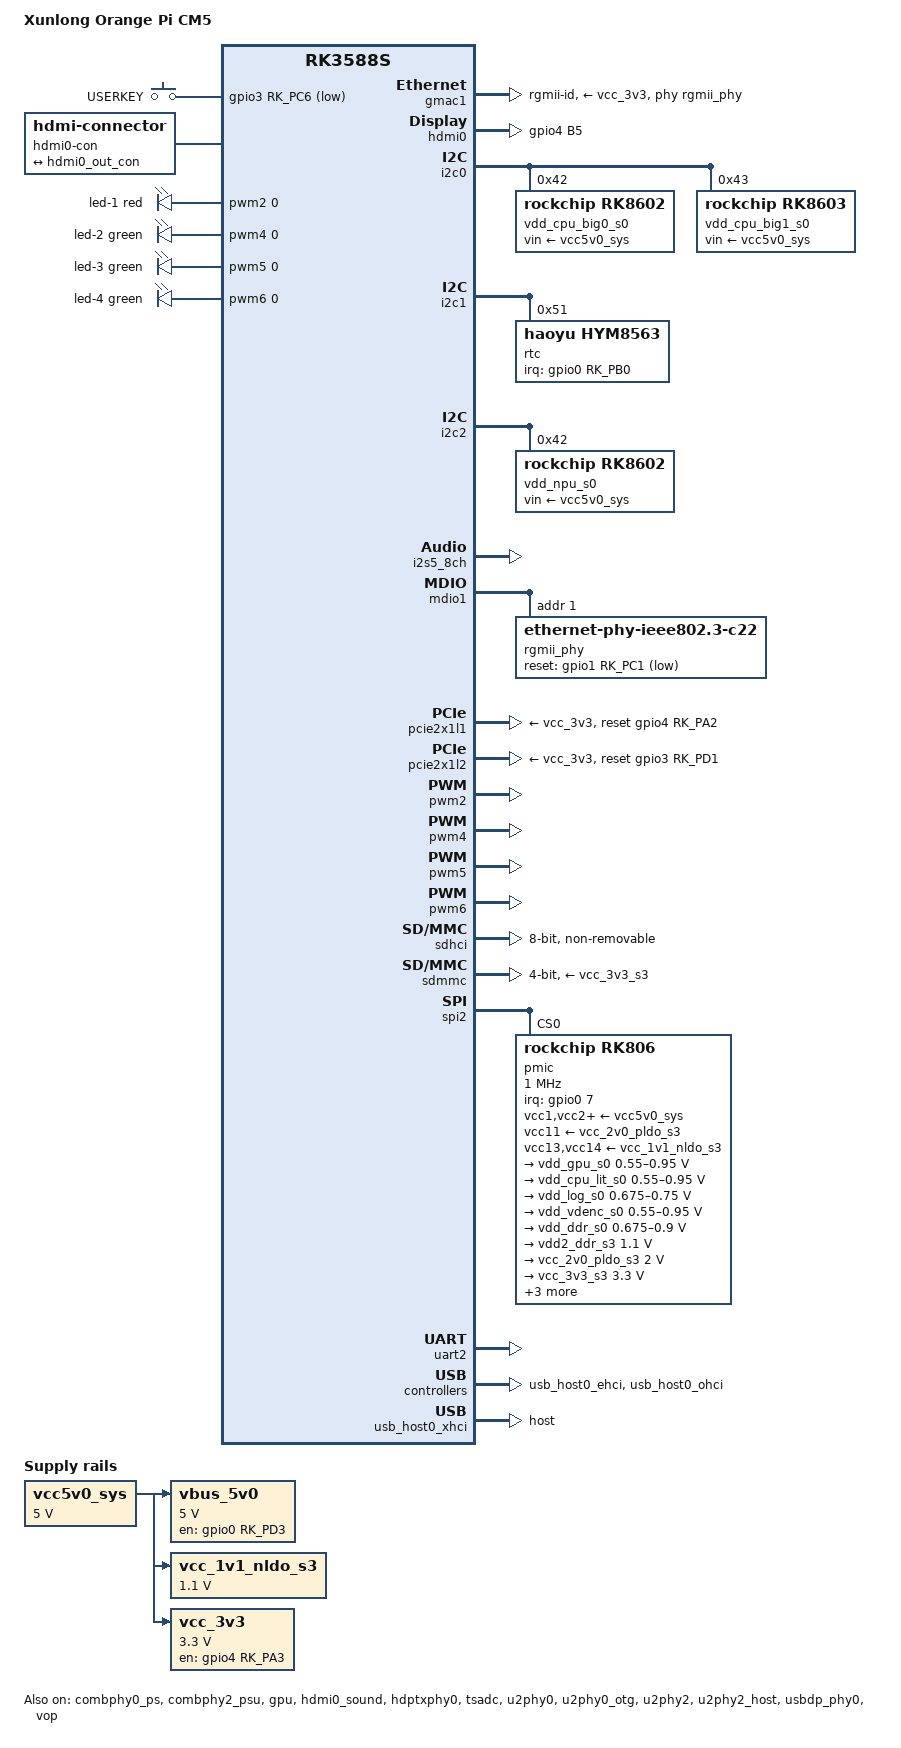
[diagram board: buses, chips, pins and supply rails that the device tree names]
// SPDX-License-Identifier: (GPL-2.0+ OR MIT)

/dts-v1/;

#include <dt-bindings/clock/rockchip,rk3588-cru.h>
#include <dt-bindings/gpio/gpio.h>
#include <dt-bindings/input/input.h>
#include <dt-bindings/interrupt-controller/irq.h>
#include <dt-bindings/leds/common.h>
#include <dt-bindings/pinctrl/rockchip.h>
#include <dt-bindings/pwm/pwm.h>
#include <dt-bindings/soc/rockchip,vop2.h>

#include "rk3588s.dtsi"
#include "rk8xx.h"

/ {
	model = "Xunlong Orange Pi CM5";
	compatible = "xunlong,orangepi-cm5-carrier", "xunlong,orangepi-cm5", "rockchip,rk3588s";

	aliases {
		ethernet0 = &gmac1;
		mmc0 = &sdhci;
		mmc1 = &sdmmc;
	};

	chosen {
		stdout-path = "serial2:1500000n8";
	};

	gpio-keys {
		compatible = "gpio-keys";
		pinctrl-names = "default";
		pinctrl-0 = <&key1_pin>;

		button {
			debounce-interval = <50>;
			gpios = <&gpio3 RK_PC6 GPIO_ACTIVE_LOW>;
			label = "USERKEY";
			linux,code = <BTN_MISC>;
			wakeup-source;
		};
	};

	hdmi0-con {
		compatible = "hdmi-connector";
		type = "a";

		port {
			hdmi0_con_in: endpoint {
				remote-endpoint = <&hdmi0_out_con>;
			};
		};
	};

	pwm-leds {
		compatible = "pwm-leds";

		led-1 {
			color = <LED_COLOR_ID_RED>;
			function = LED_FUNCTION_STATUS;
			linux,default-trigger = "heartbeat";
			max-brightness = <255>;
			pwms = <&pwm2 0 25000 0>;
		};

		led-2 {
			color = <LED_COLOR_ID_GREEN>;
			function = LED_FUNCTION_WAN;
			max-brightness = <255>;
			pwms = <&pwm4 0 25000 PWM_POLARITY_INVERTED>;
		};

		led-3 {
			color = <LED_COLOR_ID_GREEN>;
			function = LED_FUNCTION_LAN;
			function-enumerator = <0>;
			max-brightness = <255>;
			pwms = <&pwm5 0 25000 PWM_POLARITY_INVERTED>;
		};

		led-4 {
			color = <LED_COLOR_ID_GREEN>;
			function = LED_FUNCTION_LAN;
			function-enumerator = <1>;
			max-brightness = <255>;
			pwms = <&pwm6 0 25000 0>;
		};
	};

	vbus_5v0: regulator-vbus-5v0 {
		compatible = "regulator-fixed";
		enable-active-high;
		gpio = <&gpio0 RK_PD3 GPIO_ACTIVE_HIGH>;
		pinctrl-names = "default";
		pinctrl-0 = <&vbus_5v0_en_pin>;
		regulator-name = "vbus_5v0";
		regulator-min-microvolt = <5000000>;
		regulator-max-microvolt = <5000000>;
		vin-supply = <&vcc5v0_sys>;
	};

	/* Can't be verified due to missing schematics for the CM5. */
	vcc_1v1_nldo_s3: regulator-vcc-1v1-nldo-s3 {
		compatible = "regulator-fixed";
		regulator-name = "vcc_1v1_nldo_s3";
		regulator-always-on;
		regulator-boot-on;
		regulator-min-microvolt = <1100000>;
		regulator-max-microvolt = <1100000>;
		vin-supply = <&vcc5v0_sys>;
	};

	vcc_3v3: regulator-vcc-3v3 {
		compatible = "regulator-fixed";
		enable-active-high;
		gpio = <&gpio4 RK_PA3 GPIO_ACTIVE_HIGH>;
		pinctrl-names = "default";
		pinctrl-0 = <&vcc_3v3_en_pin>;
		regulator-name = "vcc_3v3";
		regulator-min-microvolt = <3300000>;
		regulator-max-microvolt = <3300000>;
		startup-delay-us = <50000>;
		vin-supply = <&vcc5v0_sys>;
	};

	vcc5v0_sys: regulator-vcc-5v0 {
		compatible = "regulator-fixed";
		regulator-name = "vcc5v0_sys";
		regulator-always-on;
		regulator-boot-on;
		regulator-min-microvolt = <5000000>;
		regulator-max-microvolt = <5000000>;
	};
};

&combphy0_ps {
	status = "okay";
};

&combphy2_psu {
	status = "okay";
};

&cpu_b0 {
	cpu-supply = <&vdd_cpu_big0_s0>;
};

&cpu_b1 {
	cpu-supply = <&vdd_cpu_big0_s0>;
};

&cpu_b2 {
	cpu-supply = <&vdd_cpu_big1_s0>;
};

&cpu_b3 {
	cpu-supply = <&vdd_cpu_big1_s0>;
};

&cpu_l0 {
	cpu-supply = <&vdd_cpu_lit_s0>;
};

&cpu_l1 {
	cpu-supply = <&vdd_cpu_lit_s0>;
};

&cpu_l2 {
	cpu-supply = <&vdd_cpu_lit_s0>;
};

&cpu_l3 {
	cpu-supply = <&vdd_cpu_lit_s0>;
};

&gmac1 {
	clock_in_out = "output";
	phy-handle = <&rgmii_phy>;
	phy-mode = "rgmii-id";
	phy-supply = <&vcc_3v3>;
	pinctrl-names = "default";
	pinctrl-0 = <&gmac1_miim
		     &gmac1_rx_bus2
		     &gmac1_tx_bus2
		     &gmac1_rgmii_clk
		     &gmac1_rgmii_bus>;
	status = "okay";
};

&gpu {
	mali-supply = <&vdd_gpu_s0>;
	status = "okay";
};

&hdmi0 {
	pinctrl-names = "default";
	pinctrl-0 = <&hdmim0_tx0_cec &hdmim0_tx0_hpd
		     &hdmim0_tx0_scl &hdmim0_tx0_sda
		     &hdmi_frl_pin>;
	status = "okay";
};

&hdmi0_in {
	hdmi0_in_vp0: endpoint {
		remote-endpoint = <&vp0_out_hdmi0>;
	};
};

&hdmi0_out {
	hdmi0_out_con: endpoint {
		remote-endpoint = <&hdmi0_con_in>;
	};
};

&hdmi0_sound {
	status = "okay";
};

&hdptxphy0 {
	status = "okay";
};

&i2c0 {
	pinctrl-0 = <&i2c0m2_xfer>;
	status = "okay";

	vdd_cpu_big0_s0: regulator@42 {
		compatible = "rockchip,rk8602";
		reg = <0x42>;
		fcs,suspend-voltage-selector = <1>;
		regulator-name = "vdd_cpu_big0_s0";
		regulator-always-on;
		regulator-boot-on;
		regulator-min-microvolt = <550000>;
		regulator-max-microvolt = <1050000>;
		regulator-ramp-delay = <2300>;
		vin-supply = <&vcc5v0_sys>;

		regulator-state-mem {
			regulator-off-in-suspend;
		};
	};

	vdd_cpu_big1_s0: regulator@43 {
		compatible = "rockchip,rk8603", "rockchip,rk8602";
		reg = <0x43>;
		fcs,suspend-voltage-selector = <1>;
		regulator-name = "vdd_cpu_big1_s0";
		regulator-always-on;
		regulator-boot-on;
		regulator-min-microvolt = <550000>;
		regulator-max-microvolt = <1050000>;
		regulator-ramp-delay = <2300>;
		vin-supply = <&vcc5v0_sys>;

		regulator-state-mem {
			regulator-off-in-suspend;
		};
	};
};

&i2c1 {
	pinctrl-0 = <&i2c1m2_xfer>;
	status = "okay";

	rtc@51 {
		compatible = "haoyu,hym8563";
		reg = <0x51>;
		#clock-cells = <0>;
		clock-output-names = "hym8563";
		interrupt-parent = <&gpio0>;
		interrupts = <RK_PB0 IRQ_TYPE_LEVEL_LOW>;
		pinctrl-names = "default";
		pinctrl-0 = <&rtc_int_pin>;
		wakeup-source;
	};
};

&i2c2 {
	status = "okay";

	vdd_npu_s0: regulator@42 {
		compatible = "rockchip,rk8602";
		reg = <0x42>;
		fcs,suspend-voltage-selector = <1>;
		regulator-name = "vdd_npu_s0";
		regulator-always-on;
		regulator-boot-on;
		regulator-min-microvolt = <550000>;
		regulator-max-microvolt = <950000>;
		regulator-ramp-delay = <2300>;
		vin-supply = <&vcc5v0_sys>;

		regulator-state-mem {
			regulator-off-in-suspend;
		};
	};
};

&i2s5_8ch {
	status = "okay";
};

&mdio1 {
	rgmii_phy: ethernet-phy@1 {
		/* YT8531C */
		compatible = "ethernet-phy-ieee802.3-c22";
		reg = <0x1>;
		pinctrl-names = "default";
		pinctrl-0 = <&rgmii_phy_pin>;
		reset-assert-us = <20000>;
		reset-deassert-us = <100000>;
		reset-gpios = <&gpio1 RK_PC1 GPIO_ACTIVE_LOW>;
	};
};

&pcie2x1l1 {
	reset-gpios = <&gpio4 RK_PA2 GPIO_ACTIVE_HIGH>;
	vpcie3v3-supply = <&vcc_3v3>;
	status = "okay";
};

&pcie2x1l2 {
	reset-gpios = <&gpio3 RK_PD1 GPIO_ACTIVE_HIGH>;
	vpcie3v3-supply = <&vcc_3v3>;
	status = "okay";
};

&pd_gpu {
	domain-supply = <&vdd_gpu_s0>;
};

&pinctrl {
	camera {
		cam1_reset_pin: cam1-reset-pin {
			rockchip,pins = <1 RK_PD0 RK_FUNC_GPIO &pcfg_pull_none>;
		};
		cam2_reset_pin: cam2-reset-pin {
			rockchip,pins = <1 RK_PD1 RK_FUNC_GPIO &pcfg_pull_none>;
		};
		cam3_reset_pin: cam3-reset-pin {
			rockchip,pins = <1 RK_PD2 RK_FUNC_GPIO &pcfg_pull_none>;
		};
		cam4_reset_pin: cam4-reset-pin {
			rockchip,pins = <1 RK_PD3 RK_FUNC_GPIO &pcfg_pull_none>;
		};
	};

	ethernet {
		rgmii_phy_pin: rgmii-phy-pin {
			rockchip,pins = <1 RK_PC1 RK_FUNC_GPIO &pcfg_pull_none>;
		};
	};

	gpio-key {
		key1_pin: key1-pin {
			rockchip,pins = <3 RK_PC6 RK_FUNC_GPIO &pcfg_pull_up>;
		};
	};

	hdmi {
		hdmi_frl_pin: hdmi-frl-pin {
			rockchip,pins = <4 RK_PB5 RK_FUNC_GPIO &pcfg_pull_up>;
		};
	};

	power {
		vcc_3v3_en_pin: vcc-3v3-en-pin {
			rockchip,pins = <4 RK_PA3 RK_FUNC_GPIO &pcfg_pull_down>;
		};
	};

	rtc {
		rtc_int_pin: rtc-int-pin {
			rockchip,pins = <0 RK_PB0 RK_FUNC_GPIO &pcfg_pull_none>;
		};
	};

	usb {
		vbus_5v0_en_pin: vbus-5v0-en-pin {
			rockchip,pins = <0 RK_PD3 RK_FUNC_GPIO &pcfg_pull_none>;
		};
	};
};

&pwm2 {
	status = "okay";
};

&pwm4 {
	status = "okay";
};

&pwm5 {
	pinctrl-0 = <&pwm5m1_pins>;
	status = "okay";
};

&pwm6 {
	status = "okay";
};

&sdhci {
	bus-width = <8>;
	no-sdio;
	no-sd;
	non-removable;
	max-frequency = <200000000>;
	mmc-hs400-1_8v;
	mmc-hs400-enhanced-strobe;
	status = "okay";
};

&sdmmc {
	bus-width = <4>;
	cap-sd-highspeed;
	disable-wp;
	max-frequency = <150000000>;
	no-mmc;
	no-sdio;
	sd-uhs-sdr104;
	vmmc-supply = <&vcc_3v3_s3>;
	vqmmc-supply = <&vccio_sd_s0>;
	status = "okay";
};

&spi2 {
	assigned-clocks = <&cru CLK_SPI2>;
	assigned-clock-rates = <200000000>;
	num-cs = <1>;
	pinctrl-0 = <&spi2m2_cs0 &spi2m2_pins>;
	status = "okay";

	pmic@0 {
		compatible = "rockchip,rk806";
		reg = <0x0>;
		interrupt-parent = <&gpio0>;
		interrupts = <7 IRQ_TYPE_LEVEL_LOW>;
		gpio-controller;
		#gpio-cells = <2>;
		pinctrl-names = "default";
		pinctrl-0 = <&pmic_pins>, <&rk806_dvs1_null>,
			    <&rk806_dvs2_null>, <&rk806_dvs3_null>;
		spi-max-frequency = <1000000>;
		system-power-controller;
		rockchip,reset-mode = <RK806_RESET>;

		vcc1-supply = <&vcc5v0_sys>;
		vcc2-supply = <&vcc5v0_sys>;
		vcc3-supply = <&vcc5v0_sys>;
		vcc4-supply = <&vcc5v0_sys>;
		vcc5-supply = <&vcc5v0_sys>;
		vcc6-supply = <&vcc5v0_sys>;
		vcc7-supply = <&vcc5v0_sys>;
		vcc8-supply = <&vcc5v0_sys>;
		vcc9-supply = <&vcc5v0_sys>;
		vcc10-supply = <&vcc5v0_sys>;
		vcc11-supply = <&vcc_2v0_pldo_s3>;
		vcc12-supply = <&vcc5v0_sys>;
		vcc13-supply = <&vcc_1v1_nldo_s3>;
		vcc14-supply = <&vcc_1v1_nldo_s3>;
		vcca-supply = <&vcc5v0_sys>;

		rk806_dvs1_null: dvs1-null-pins {
			pins = "gpio_pwrctrl1";
			function = "pin_fun0";
		};

		rk806_dvs2_null: dvs2-null-pins {
			pins = "gpio_pwrctrl2";
			function = "pin_fun0";
		};

		rk806_dvs3_null: dvs3-null-pins {
			pins = "gpio_pwrctrl3";
			function = "pin_fun0";
		};

		regulators {
			vdd_gpu_s0: dcdc-reg1 {
				regulator-name = "vdd_gpu_s0";
				regulator-boot-on;
				regulator-min-microvolt = <550000>;
				regulator-max-microvolt = <950000>;
				regulator-ramp-delay = <12500>;
				regulator-enable-ramp-delay = <400>;

				regulator-state-mem {
					regulator-off-in-suspend;
				};
			};

			vdd_cpu_lit_s0: dcdc-reg2 {
				regulator-name = "vdd_cpu_lit_s0";
				regulator-always-on;
				regulator-boot-on;
				regulator-min-microvolt = <550000>;
				regulator-max-microvolt = <950000>;
				regulator-ramp-delay = <12500>;

				regulator-state-mem {
					regulator-off-in-suspend;
				};
			};

			vdd_log_s0: dcdc-reg3 {
				regulator-name = "vdd_log_s0";
				regulator-always-on;
				regulator-boot-on;
				regulator-min-microvolt = <675000>;
				regulator-max-microvolt = <750000>;
				regulator-ramp-delay = <12500>;

				regulator-state-mem {
					regulator-off-in-suspend;
					regulator-suspend-microvolt = <750000>;
				};
			};

			vdd_vdenc_s0: dcdc-reg4 {
				regulator-name = "vdd_vdenc_s0";
				regulator-always-on;
				regulator-boot-on;
				regulator-min-microvolt = <550000>;
				regulator-max-microvolt = <950000>;
				regulator-ramp-delay = <12500>;

				regulator-state-mem {
					regulator-off-in-suspend;
				};
			};

			vdd_ddr_s0: dcdc-reg5 {
				regulator-name = "vdd_ddr_s0";
				regulator-always-on;
				regulator-boot-on;
				regulator-min-microvolt = <675000>;
				regulator-max-microvolt = <900000>;
				regulator-ramp-delay = <12500>;

				regulator-state-mem {
					regulator-off-in-suspend;
					regulator-suspend-microvolt = <850000>;
				};
			};

			vdd2_ddr_s3: dcdc-reg6 {
				regulator-name = "vdd2_ddr_s3";
				regulator-always-on;
				regulator-boot-on;
				regulator-max-microvolt = <1100000>;
				regulator-min-microvolt = <1100000>;

				regulator-state-mem {
					regulator-on-in-suspend;
				};
			};

			vcc_2v0_pldo_s3: dcdc-reg7 {
				regulator-name = "vdd_2v0_pldo_s3";
				regulator-always-on;
				regulator-boot-on;
				regulator-min-microvolt = <2000000>;
				regulator-max-microvolt = <2000000>;

				regulator-state-mem {
					regulator-on-in-suspend;
					regulator-suspend-microvolt = <2000000>;
				};
			};

			vcc_3v3_s3: dcdc-reg8 {
				regulator-name = "vcc_3v3_s3";
				regulator-always-on;
				regulator-boot-on;
				regulator-min-microvolt = <3300000>;
				regulator-max-microvolt = <3300000>;

				regulator-state-mem {
					regulator-on-in-suspend;
					regulator-suspend-microvolt = <3300000>;
				};
			};

			vddq_ddr_s0: dcdc-reg9 {
				regulator-name = "vddq_ddr_s0";
				regulator-always-on;
				regulator-boot-on;

				regulator-state-mem {
					regulator-off-in-suspend;
				};
			};

			vcc_1v8_s3: dcdc-reg10 {
				regulator-name = "vcc_1v8_s3";
				regulator-always-on;
				regulator-boot-on;
				regulator-min-microvolt = <1800000>;
				regulator-max-microvolt = <1800000>;

				regulator-state-mem {
					regulator-on-in-suspend;
					regulator-suspend-microvolt = <1800000>;
				};
			};

			avcc_1v8_s0: pldo-reg1 {
				regulator-name = "avcc_1v8_s0";
				regulator-always-on;
				regulator-boot-on;
				regulator-min-microvolt = <1800000>;
				regulator-max-microvolt = <1800000>;

				regulator-state-mem {
					regulator-off-in-suspend;
				};
			};

			vcc_1v8_s0: pldo-reg2 {
				regulator-name = "vcc_1v8_s0";
				regulator-always-on;
				regulator-boot-on;
				regulator-min-microvolt = <1800000>;
				regulator-max-microvolt = <1800000>;

				regulator-state-mem {
					regulator-off-in-suspend;
					regulator-suspend-microvolt = <1800000>;
				};
			};

			avdd_1v2_s0: pldo-reg3 {
				regulator-name = "avdd_1v2_s0";
				regulator-always-on;
				regulator-boot-on;
				regulator-min-microvolt = <1200000>;
				regulator-max-microvolt = <1200000>;

				regulator-state-mem {
					regulator-off-in-suspend;
				};
			};

			vcc_3v3_s0: pldo-reg4 {
				regulator-name = "vcc_3v3_s0";
				regulator-always-on;
				regulator-boot-on;
				regulator-min-microvolt = <3300000>;
				regulator-max-microvolt = <3300000>;

				regulator-state-mem {
					regulator-off-in-suspend;
				};
			};

			vccio_sd_s0: pldo-reg5 {
				regulator-name = "vccio_sd_s0";
				regulator-always-on;
				regulator-boot-on;
				regulator-min-microvolt = <1800000>;
				regulator-max-microvolt = <3300000>;

				regulator-state-mem {
					regulator-off-in-suspend;
				};
			};

			pldo6_s3: pldo-reg6 {
				regulator-name = "pldo6_s3";
				regulator-always-on;
				regulator-boot-on;
				regulator-min-microvolt = <1800000>;
				regulator-max-microvolt = <1800000>;

				regulator-state-mem {
					regulator-on-in-suspend;
					regulator-suspend-microvolt = <1800000>;
				};
			};

			vdd_0v75_s3: nldo-reg1 {
				regulator-name = "vdd_0v75_s3";
				regulator-always-on;
				regulator-boot-on;
				regulator-min-microvolt = <750000>;
				regulator-max-microvolt = <750000>;

				regulator-state-mem {
					regulator-on-in-suspend;
					regulator-suspend-microvolt = <750000>;
				};
			};

			vdd_ddr_pll_s0: nldo-reg2 {
				regulator-name = "vdd_ddr_pll_s0";
				regulator-always-on;
				regulator-boot-on;
				regulator-min-microvolt = <850000>;
				regulator-max-microvolt = <850000>;

				regulator-state-mem {
					regulator-off-in-suspend;
					regulator-suspend-microvolt = <850000>;
				};
			};

			avdd_0v75_s0: nldo-reg3 {
				regulator-name = "avdd_0v75_s0";
				regulator-always-on;
				regulator-boot-on;
				regulator-min-microvolt = <750000>;
				regulator-max-microvolt = <750000>;

				regulator-state-mem {
					regulator-off-in-suspend;
				};
			};

			vdd_0v85_s0: nldo-reg4 {
				regulator-name = "vdd_0v85_s0";
				regulator-always-on;
				regulator-boot-on;
				regulator-min-microvolt = <850000>;
				regulator-max-microvolt = <850000>;

				regulator-state-mem {
					regulator-off-in-suspend;
				};
			};

			vdd_0v75_s0: nldo-reg5 {
				regulator-name = "vdd_0v75_s0";
				regulator-always-on;
				regulator-boot-on;
				regulator-min-microvolt = <750000>;
				regulator-max-microvolt = <750000>;

				regulator-state-mem {
					regulator-off-in-suspend;
				};
			};
		};
	};
};

&tsadc {
	pinctrl-0 = <&tsadc_gpio_func>;
	status = "okay";
};

&u2phy0 {
	status = "okay";
};

&u2phy0_otg {
	phy-supply = <&vbus_5v0>;
	status = "okay";
};

&u2phy2 {
	status = "okay";
};

&u2phy2_host {
	phy-supply = <&vbus_5v0>;
	status = "okay";
};

&uart2 {
	pinctrl-0 = <&uart2m0_xfer>;
	status = "okay";
};

&usb_host0_ehci {
	status = "okay";
};

&usb_host0_ohci {
	status = "okay";
};

&usb_host0_xhci {
	dr_mode = "host";
	status = "okay";
};

&usbdp_phy0 {
	status = "okay";
};

&vop {
	status = "okay";
};

&vop_mmu {
	status = "okay";
};

&vp0 {
	vp0_out_hdmi0: endpoint@ROCKCHIP_VOP2_EP_HDMI0 {
		reg = <ROCKCHIP_VOP2_EP_HDMI0>;
		remote-endpoint = <&hdmi0_in_vp0>;
	};
};
